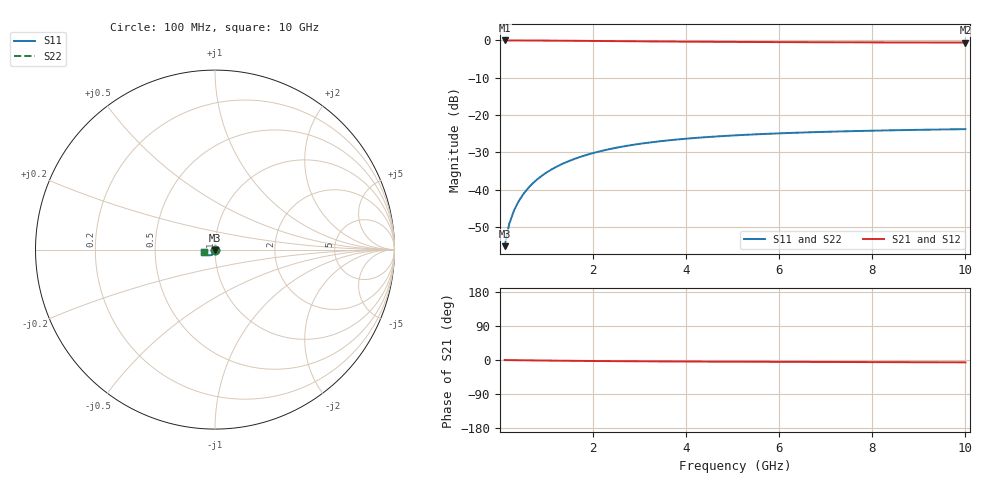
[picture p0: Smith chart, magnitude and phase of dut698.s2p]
! Touchstone file exported from HFSS 2024.1.0
!  File:  C:/UserFiles/LocalFiles/RDL_TSV_Batchsim/temp_TSV1_698_1779796816.aedt
!  Generated:  08:05:07 PM May 26, 2026
!  Design:  TSV1
!  Project:  temp_TSV1_698_1779796816
!  Setup:  Setup1
!  Solution:  Sweep
! Variables:
!  dtsv = 11.15um
!  hbump = 3um
!  htsv = 99.96um
!  lrdl = 252.1521522um
!  p = 40
!  p1 = 45.31um
!  t = 500um
!  trdl = 3um
!  wrdl = 24.89489489um
# GHz S MA R 50.000000
! Terminal data exported
! Port[1] = TSV22_T1
! Port[2] = TSV22_T2
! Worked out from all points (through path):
!   100 points, 100 MHz to 10 GHz, reference 50 ohm
!   highest |S21| = 0.00 dB at 100 MHz (marker M1); lowest = -0.6 dB at 10 GHz (marker M2)
!   lowest |S11| = -55.2 dB at 100 MHz (marker M3), VSWR 1.00, Z = 50 - j0.174 ohm
!   |S11| at or under -10 dB: start of sweep to end of sweep
!   |S22| runs from -55.2 to -23.8 dB; largest |S21 - S12| = 2.1e-15
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0.1  0.001743 -87.1  0.9998 -0.2  0.9998 -0.2  0.001743 -87.1
! Gamma 0 0 0 0
! Port Impedance 50 0 50 0
0.2  0.003478 -90.8  0.9996 -0.3  0.9996 -0.3  0.003478 -90.8
0.3  0.005213 -93.1  0.9994 -0.5  0.9994 -0.5  0.005213 -93.1
0.4  0.006943 -95.0  0.999 -0.6  0.999 -0.6  0.006943 -95.0
0.5  0.008661 -96.8  0.9986 -0.8  0.9986 -0.8  0.008661 -96.8
0.6  0.01036 -98.5  0.9981 -0.9  0.9981 -0.9  0.01036 -98.5
0.7  0.01204 -100.2  0.9974 -1.1  0.9974 -1.1  0.01204 -100.2
0.8  0.0137 -101.9  0.9968 -1.2  0.9968 -1.2  0.0137 -101.9
0.9  0.01533 -103.5  0.996 -1.3  0.996 -1.3  0.01533 -103.5
1.1  0.01849 -106.6  0.9943 -1.6  0.9943 -1.6  0.01849 -106.6
1.4  0.02298 -111.1  0.9914 -2.0  0.9914 -2.0  0.02298 -111.1
1.6  0.02577 -113.9  0.9893 -2.2  0.9893 -2.2  0.02577 -113.9
1.8  0.02841 -116.6  0.9871 -2.4  0.9871 -2.4  0.02841 -116.6
2.1  0.03207 -120.5  0.9837 -2.7  0.9837 -2.7  0.03207 -120.5
2.5  0.03641 -125.2  0.9791 -3.1  0.9791 -3.1  0.03641 -125.2
2.9  0.04017 -129.4  0.9746 -3.4  0.9746 -3.4  0.04017 -129.4
3.4  0.04418 -134.2  0.9695 -3.7  0.9695 -3.7  0.04418 -134.2
4.2  0.04927 -140.7  0.9622 -4.1  0.9622 -4.1  0.04927 -140.7
5.1  0.05356 -146.8  0.9555 -4.5  0.9555 -4.5  0.05356 -146.8
6.7  0.05878 -155.2  0.9468 -5.1  0.9468 -5.1  0.05878 -155.2
8.4  0.06234 -162.0  0.9405 -5.7  0.9405 -5.7  0.06234 -162.0
10  0.06464 -167.3  0.9364 -6.3  0.9364 -6.3  0.06464 -167.3
